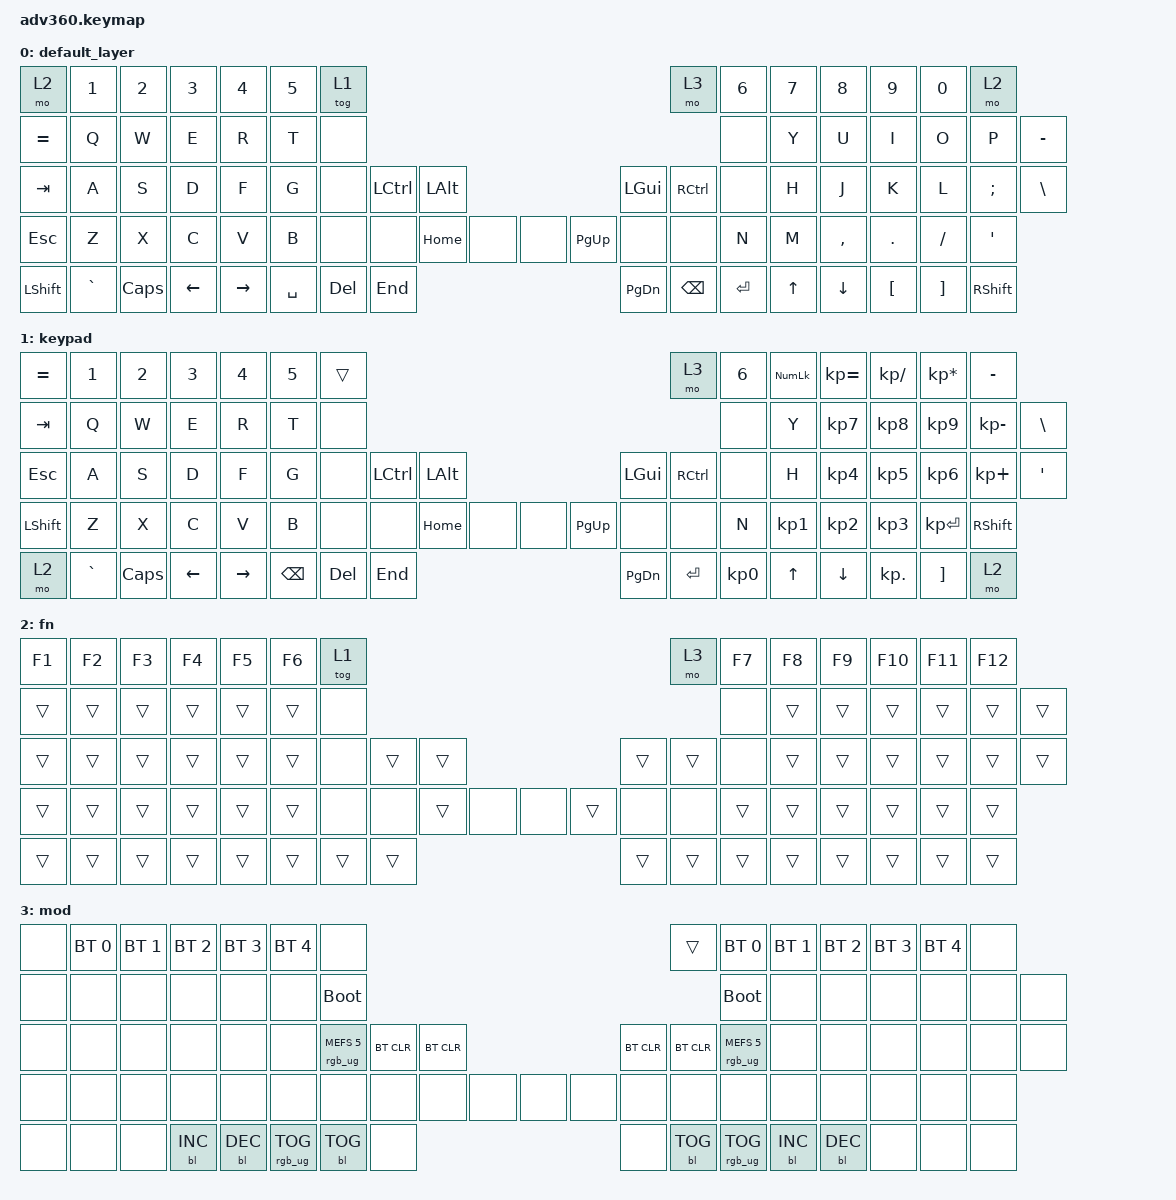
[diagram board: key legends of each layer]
#include <behaviors.dtsi>
#include <dt-bindings/zmk/keys.h>
#include <dt-bindings/zmk/bt.h>
#include <dt-bindings/zmk/rgb.h>
#include <dt-bindings/zmk/backlight.h>

/ {
    behaviors {
      #include "macros.dtsi"

      hm: homerow_mods {
          compatible = "zmk,behavior-hold-tap";
          label = "HOMEROW_MODS";
          #binding-cells = <2>;
          tapping-term-ms = <200>;
          quick_tap_ms = <175>;
          flavor = "tap-preferred";
          bindings = <&kp>, <&kp>;
      };
    };
  keymap {
    compatible = "zmk,keymap";

    // Sofle layers (CRKBD-based)
    // WIP: still some errors on some bindings
    // We should keep the bootloader

    // sofle_layer_0 {
    //   bindings = <
    //     &none      &none     &none    &none    &none      &none  &none                                                                             &none &none  &none  &none     &none    &none    &none
    //     &kp TAB    &kp Q     &kp W    &kp E    &kp R      &kp T  &none                                                                             &none &kp Y  &kp U  &kp I     &kp O    &kp P    &kp BSPC
    //     &kp LSHFT  &kp A     &kp S    &kp D    &kp F      &kp G  &none            &kp LALT  &none                  &none     &kp LGUI              &none &kp H  &kp J  &kp K     &kp L    &kp SEMI &kp SQT
    //     &kp LCTRL  &kp Z     &kp X    &kp C    &kp V      &kp B         &none     &none     &none   &none  &none   &none     &none     &none             &kp N  &kp M  &kp COMMA &kp DOT  &kp FSLH &kp ESC
    //     &none      &none     &none    &none    &none                    &kp ENTER &mo 2     &none                  &none     &mo 1     &kp SPACE                &none  &none     &none    &none    &none
    //   >;
    // };

    // sofle_layer_1 {
    //   bindings = <
    //     &none      &none     &none      &none    &none      &none   &none                                                                            &none &none     &none    &none  &none     &none    &none
    //     &kp TAB    &kp N1    &kp N2     &kp UP   &kp N4     &kp N5  &none                                                                            &none &kp N6    &kp N7   &kp N8 &kp N9    &kp N9   &kp DEL
    //     &kp LCTRL  &kp A     &kp LEFT   &kp DOWN &kp RIGHT  &kp N3  &none           &kp LGUI  &none                  &none     &kp RALT              &none &kp RIGHT &kp DOWN &kp UP &kp RIGHT &kp SEMI &kp SQT
    //     &kp LSHFT  &kp F1    &kp F2     &kp F3   &kp F4     &kp F5        &none     &none     &none   &none  &none   &none     &none     &none             &kp F6    &kp F7   &kp F8 &kp F9    &kp F10  &kp F11
    //     &none      &none     &none      &none    &none                    &kp ENTER &none     &none                  &none     &none     &kp SPACE                   &none    &none  &none     &none    &none
    //   >;
    // };

    // sofle_layer_2 {
    //   bindings = <
    //     &none     &none    &none  &none     &none       &none       &none                                                               &none &kp CARET &kp AMPERSAND &kp ASTERISK &kp LPAR  &kp RPAR      &kp BACKSPACE
    //     &kp TAB   &kp EXCL &kp AT &kp HASH  &kp DOLLAR  &kp PERCENT &none                                                               &none &kp MINUS &kp EQUAL     &kp LBKT     &kp RBKT  &kp BACKSLASH &kp GRAVE
    //     &kp LCTRL &none    &none  &kp PG_UP &kp PG_DN   &kp TILDE   &none           &kp LGUI &none             &none &kp RALT           &none &kp RIGHT &kp DOWN      &kp UP       &kp RIGHT &kp SEMI      &kp SQT
    //     &kp LSHFT &none    &none  &none     &none       &none             &none     &none    &none &none &none &none &none    &none           &kp F6    &kp F7        &kp F8       &kp F9    &kp F10       &kp F11
    //     &none     &none    &none  &none     &none                         &kp SPACE &none    &none             &none &none    &kp ENTER                 &none         &none        &none     &none         &none
    //   >;
    // };

    // none {
    //   bindings = <
    //     &none  &none  &none  &none  &none  &none  &none                                                          &none  &none  &none  &none  &none  &none  &none
    //     &none  &none  &none  &none  &none  &none  &none                                                          &none  &none  &none  &none  &none  &none  &none
    //     &none  &none  &none  &none  &none  &none  &none         &none  &none                &none  &none         &none  &none  &none  &none  &none  &none  &none
    //     &none  &none  &none  &none  &none  &none         &none  &none  &none  &none  &none  &none  &none  &none  &none  &none  &none  &none  &none  &none
    //     &none  &none  &none  &none  &none                &none  &none  &none                &none  &none  &none  &none  &none  &none  &none  &none
    //   >;
    // };

    // Default layers (slightly modified)
    // Space - Enter on each side
    // mo 2 on top
    // This keymaps is actually horrible -> doing a ! is a pain in the ass

    default_layer {
      bindings = <
        &mo 2 &kp N1    &kp N2   &kp N3   &kp N4     &kp N5 &tog 1                                                                       &mo 3 &kp N6 &kp N7 &kp N8    &kp N9   &kp N0   &mo 2
        &kp EQUAL     &kp Q     &kp W    &kp E    &kp R      &kp T  &none                                                                        &none &kp Y  &kp U  &kp I     &kp O    &kp P    &kp MINUS
        &kp TAB   &kp A     &kp S    &kp D    &kp F      &kp G  &none           &kp LCTRL &kp LALT             &kp LGUI  &kp RCTRL           &none &kp H  &kp J  &kp K     &kp L    &kp SEMI &kp BSLH
        &kp ESC   &kp Z     &kp X    &kp C    &kp V      &kp B         &none    &none     &kp HOME &none &none &kp PG_UP &none     &none           &kp N  &kp M  &kp COMMA &kp DOT  &kp FSLH &kp SQT
        &kp LSHFT &kp GRAVE &kp CAPS &kp LEFT &kp RIGHT                &kp SPACE &kp DEL   &kp END              &kp PG_DN &kp BSPC &kp ENTER              &kp UP &kp DOWN  &kp LBKT &kp RBKT &kp RSHFT
      >;
    };

    keypad {
      bindings = <
        &kp EQUAL &kp N1    &kp N2   &kp N3   &kp N4     &kp N5 &trans                                                                       &mo 3 &kp N6 &kp KP_NUM &kp KP_EQUAL &kp KP_DIVIDE &kp KP_MULTIPLY &kp MINUS
        &kp TAB   &kp Q     &kp W    &kp E    &kp R      &kp T  &none                                                                        &none &kp Y  &kp KP_N7  &kp KP_N8    &kp KP_N9     &kp KP_MINUS    &kp BSLH
        &kp ESC   &kp A     &kp S    &kp D    &kp F      &kp G  &none           &kp LCTRL &kp LALT             &kp LGUI  &kp RCTRL           &none &kp H  &kp KP_N4  &kp KP_N5    &kp KP_N6     &kp KP_PLUS     &kp SQT
        &kp LSHFT &kp Z     &kp X    &kp C    &kp V      &kp B         &none    &none     &kp HOME &none &none &kp PG_UP &none     &none           &kp N  &kp KP_N1  &kp KP_N2    &kp KP_N3     &kp KP_ENTER    &kp RSHFT
        &mo 2     &kp GRAVE &kp CAPS &kp LEFT &kp RIGHT                &kp BSPC &kp DEL   &kp END              &kp PG_DN &kp ENTER &kp KP_N0              &kp UP     &kp DOWN     &kp KP_DOT    &kp RBKT        &mo 2
      >;
    };

    fn {
      bindings = <
        &kp F1 &kp F2 &kp F3 &kp F4 &kp F5 &kp F6 &tog 1                                                       &mo 3 &kp F7 &kp F8 &kp F9 &kp F10 &kp F11 &kp F12
        &trans &trans &trans &trans &trans &trans  &none                                                       &none &trans &trans &trans &trans  &trans  &trans
        &trans &trans &trans &trans &trans &trans  &none        &trans &trans             &trans &trans        &none &trans &trans &trans &trans  &trans  &trans
        &trans &trans &trans &trans &trans &trans        &none  &none  &trans &none &none &trans &none  &none        &trans &trans &trans &trans  &trans  &trans
        &trans &trans &trans &trans &trans               &trans &trans &trans             &trans &trans &trans              &trans &trans &trans  &trans  &trans
      >;
    };

    mod {
      bindings = <
        &none &bt BT_SEL 0 &bt BT_SEL 1 &bt BT_SEL 2 &bt BT_SEL 3 &bt BT_SEL 4 &none                                                                                                          &trans                 &bt BT_SEL 0 &bt BT_SEL 1 &bt BT_SEL 2 &bt BT_SEL 3 &bt BT_SEL 4 &none
        &none &none        &none        &none        &none        &none        &bootloader                                                                                                    &bootloader            &none        &none        &none        &none        &none        &none
        &none &none        &none        &none        &none        &none        &rgb_ug RGB_MEFS_CMD 5                 &bt BT_CLR &bt BT_CLR             &bt BT_CLR &bt BT_CLR                 &rgb_ug RGB_MEFS_CMD 5 &none        &none        &none        &none        &none        &none
        &none &none        &none        &none        &none        &none                               &none           &none      &none      &none &none &none      &none      &none                                  &none        &none        &none        &none        &none        &none
        &none &none        &none        &bl BL_INC   &bl BL_DEC                                       &rgb_ug RGB_TOG &bl BL_TOG &none                  &none      &bl BL_TOG &rgb_ug RGB_TOG                                     &bl BL_INC   &bl BL_DEC   &none        &none        &none
      >;
    };

    // Default layers

    // default_layer {
    //   bindings = <
    //     &kp EQUAL &kp N1    &kp N2   &kp N3   &kp N4     &kp N5 &tog 1                                                                       &mo 3 &kp N6 &kp N7 &kp N8    &kp N9   &kp N0   &kp MINUS
    //     &kp TAB   &kp Q     &kp W    &kp E    &kp R      &kp T  &none                                                                        &none &kp Y  &kp U  &kp I     &kp O    &kp P    &kp BSLH
    //     &kp ESC   &kp A     &kp S    &kp D    &kp F      &kp G  &none           &kp LCTRL &kp LALT             &kp LGUI  &kp RCTRL           &none &kp H  &kp J  &kp K     &kp L    &kp SEMI &kp SQT
    //     &kp LSHFT &kp Z     &kp X    &kp C    &kp V      &kp B         &none    &none     &kp HOME &none &none &kp PG_UP &none     &none           &kp N  &kp M  &kp COMMA &kp DOT  &kp FSLH &kp RSHFT
    //     &mo 2     &kp GRAVE &kp CAPS &kp LEFT &kp RIGHT                &kp BSPC &kp DEL   &kp END              &kp PG_DN &kp ENTER &kp SPACE              &kp UP &kp DOWN  &kp LBKT &kp RBKT &mo 2
    //   >;
    // };

    // keypad {
    //   bindings = <
    //     &kp EQUAL &kp N1    &kp N2   &kp N3   &kp N4     &kp N5 &trans                                                                       &mo 3 &kp N6 &kp KP_NUM &kp KP_EQUAL &kp KP_DIVIDE &kp KP_MULTIPLY &kp MINUS
    //     &kp TAB   &kp Q     &kp W    &kp E    &kp R      &kp T  &none                                                                        &none &kp Y  &kp KP_N7  &kp KP_N8    &kp KP_N9     &kp KP_MINUS    &kp BSLH
    //     &kp ESC   &kp A     &kp S    &kp D    &kp F      &kp G  &none           &kp LCTRL &kp LALT             &kp LGUI  &kp RCTRL           &none &kp H  &kp KP_N4  &kp KP_N5    &kp KP_N6     &kp KP_PLUS     &kp SQT
    //     &kp LSHFT &kp Z     &kp X    &kp C    &kp V      &kp B         &none    &none     &kp HOME &none &none &kp PG_UP &none     &none           &kp N  &kp KP_N1  &kp KP_N2    &kp KP_N3     &kp KP_ENTER    &kp RSHFT
    //     &mo 2     &kp GRAVE &kp CAPS &kp LEFT &kp RIGHT                &kp BSPC &kp DEL   &kp END              &kp PG_DN &kp ENTER &kp KP_N0              &kp UP     &kp DOWN     &kp KP_DOT    &kp RBKT        &mo 2
    //   >;
    // };

    // fn {
    //   bindings = <
    //     &kp F1 &kp F2 &kp F3 &kp F4 &kp F5 &kp F6 &tog 1                                                       &mo 3 &kp F7 &kp F8 &kp F9 &kp F10 &kp F11 &kp F12
    //     &trans &trans &trans &trans &trans &trans  &none                                                       &none &trans &trans &trans &trans  &trans  &trans
    //     &trans &trans &trans &trans &trans &trans  &none        &trans &trans             &trans &trans        &none &trans &trans &trans &trans  &trans  &trans
    //     &trans &trans &trans &trans &trans &trans        &none  &none  &trans &none &none &trans &none  &none        &trans &trans &trans &trans  &trans  &trans
    //     &trans &trans &trans &trans &trans               &trans &trans &trans             &trans &trans &trans              &trans &trans &trans  &trans  &trans
    //   >;
    // };

    // mod {
    //   bindings = <
    //     &none &bt BT_SEL 0 &bt BT_SEL 1 &bt BT_SEL 2 &bt BT_SEL 3 &bt BT_SEL 4 &none                                                                                                          &trans                 &bt BT_SEL 0 &bt BT_SEL 1 &bt BT_SEL 2 &bt BT_SEL 3 &bt BT_SEL 4 &none
    //     &none &none        &none        &none        &none        &none        &bootloader                                                                                                    &bootloader            &none        &none        &none        &none        &none        &none
    //     &none &none        &none        &none        &none        &none        &rgb_ug RGB_MEFS_CMD 5                 &bt BT_CLR &bt BT_CLR             &bt BT_CLR &bt BT_CLR                 &rgb_ug RGB_MEFS_CMD 5 &none        &none        &none        &none        &none        &none
    //     &none &none        &none        &none        &none        &none                               &none           &none      &none      &none &none &none      &none      &none                                  &none        &none        &none        &none        &none        &none
    //     &none &none        &none        &bl BL_INC   &bl BL_DEC                                       &rgb_ug RGB_TOG &bl BL_TOG &none                  &none      &bl BL_TOG &rgb_ug RGB_TOG                                     &bl BL_INC   &bl BL_DEC   &none        &none        &none
    //   >;
    // };

  };
};
